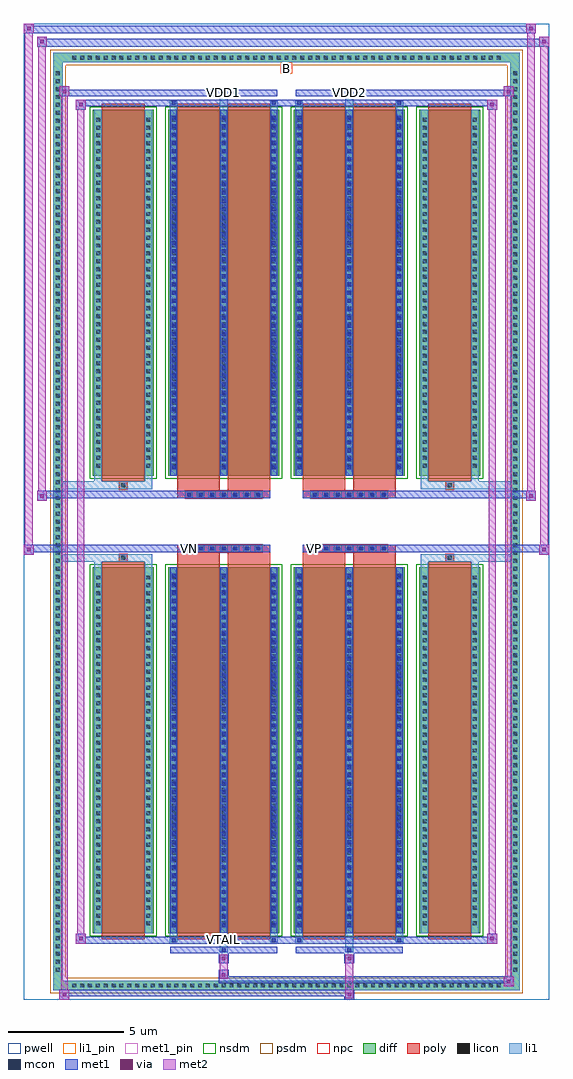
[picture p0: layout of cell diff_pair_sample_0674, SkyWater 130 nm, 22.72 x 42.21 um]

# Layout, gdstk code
import gdstk
lib = gdstk.Library(unit=1e-6, precision=5e-09)
def R(c, l, rs):  # rectangles x0, y0, x1, y1
    for r in rs: c.add(gdstk.rectangle(r[:2], r[2:], *l))
def A(c, l, x, y, w, h, nx, ny, dx, dy):  # array of equal rectangles
    R(c, l, [(x+i*dx, y+j*dy, x+i*dx+w, y+j*dy+h) for i in range(nx) for j in range(ny)])
def P(c, l, *ps):  # polygons
    for p in ps: c.add(gdstk.Polygon(p, *l))
pwell = (64, 44)
diff = (65, 20)
poly = (66, 20)
licon = (66, 44)
li1_pin = (67, 16)
li1 = (67, 20)
mcon = (67, 44)
met1_pin = (68, 16)
met1 = (68, 20)
via = (68, 44)
met2 = (69, 20)
nsdm = (93, 44)
psdm = (94, 20)
npc = (95, 20)

diff_pair_sample_0674 = lib.new_cell('diff_pair_sample_0674')
R(diff_pair_sample_0674, pwell, [(-11.36,-20.67,11.36,21.54), (-8.68,-18.86,-0.01,-0.8), (0.01,-18.86,8.68,-0.8), (-8.68,0.8,-0.01,18.86), (0.01,0.8,8.68,18.86)])
A(diff_pair_sample_0674, diff, -9.385, -20.27, 0.41, 0.41, 55, 2, 0.34, 40.13)
A(diff_pair_sample_0674, diff, -10.09, -19.585, 0.41, 0.41, 1, 115, 0, 0.34)
A(diff_pair_sample_0674, diff, 9.68, -19.585, 0.41, 0.41, 1, 115, 0, 0.34)
R(diff_pair_sample_0674, diff, [(-9.385,-20.27,9.385,-19.86), (-10.09,-19.585,-9.68,19.585), (9.68,-19.585,10.09,19.585), (-8.37,-17.815,-5.75,-1.985), (-5.11,-17.815,-0.32,-1.985), (0.32,-17.815,5.11,-1.985), (5.75,-17.815,8.37,-1.985), (-8.37,1.985,-5.75,17.815), (-5.11,1.985,-0.32,17.815), (0.32,1.985,5.11,17.815), (5.75,1.985,8.37,17.815), (-9.385,19.86,9.385,20.27)])
P(diff_pair_sample_0674, diff, [(10.09,20.27),(-10.09,20.27),(-10.09,-19.86),(-9.68,-19.86),(-9.68,19.86),(9.68,19.86),(9.68,-19.86),(-9.68,-19.86),(-10.09,-19.86),(-10.09,-20.27),(10.09,-20.27)])
A(diff_pair_sample_0674, poly, -4.38, -1.33, 0.33, 0.33, 7, 2, 0.5, 2.33)
A(diff_pair_sample_0674, poly, 1.05, -1.33, 0.33, 0.33, 7, 2, 0.5, 2.33)
R(diff_pair_sample_0674, poly, [(-7.98,-18.065,-6.14,-1.735), (-4.72,-18.065,-2.88,-1.735), (-2.55,-18.065,-0.71,-1.735), (0.71,-18.065,2.55,-1.735), (2.88,-18.065,4.72,-1.735), (6.14,-18.065,7.98,-1.735), (-7.225,-1.735,-6.895,-1.405), (-7.225,-1.735,-6.895,-1.405), (-4.72,-1.735,-2.88,-1.33), (-2.55,-1.735,-0.71,-1.33), (0.71,-1.735,2.55,-1.33), (2.88,-1.735,4.72,-1.33), (6.895,-1.735,7.225,-1.405), (6.895,-1.735,7.225,-1.405), (-4.72,-1.33,-0.71,-1), (0.71,-1.33,4.72,-1), (-4.72,1,-0.71,1.33), (0.71,1,4.72,1.33), (-4.72,1.33,-2.88,1.735), (-2.55,1.33,-0.71,1.735), (0.71,1.33,2.55,1.735), (2.88,1.33,4.72,1.735), (-7.225,1.405,-6.895,1.735), (-7.225,1.405,-6.895,1.735), (6.895,1.405,7.225,1.735), (6.895,1.405,7.225,1.735), (-7.98,1.735,-6.14,18.065), (-4.72,1.735,-2.88,18.065), (-2.55,1.735,-0.71,18.065), (0.71,1.735,2.55,18.065), (2.88,1.735,4.72,18.065), (6.14,1.735,7.98,18.065)])
A(diff_pair_sample_0674, licon, -9.265, -20.15, 0.17, 0.17, 55, 2, 0.34, 40.13)
A(diff_pair_sample_0674, licon, -9.97, -19.465, 0.17, 0.17, 1, 115, 0, 0.34)
A(diff_pair_sample_0674, licon, 9.8, -19.465, 0.17, 0.17, 1, 115, 0, 0.34)
A(diff_pair_sample_0674, licon, -8.23, -17.465, 0.17, 0.17, 1, 45, 0, 0.34)
A(diff_pair_sample_0674, licon, -6.06, -17.465, 0.17, 0.17, 1, 45, 0, 0.34)
A(diff_pair_sample_0674, licon, -4.97, -17.465, 0.17, 0.17, 3, 45, 2.17, 0.34)
A(diff_pair_sample_0674, licon, 0.46, -17.465, 0.17, 0.17, 3, 45, 2.17, 0.34)
A(diff_pair_sample_0674, licon, 5.89, -17.465, 0.17, 0.17, 1, 45, 0, 0.34)
A(diff_pair_sample_0674, licon, 8.06, -17.465, 0.17, 0.17, 1, 45, 0, 0.34)
A(diff_pair_sample_0674, licon, -4.3, -1.25, 0.17, 0.17, 7, 2, 0.5, 2.33)
A(diff_pair_sample_0674, licon, 1.13, -1.25, 0.17, 0.17, 7, 2, 0.5, 2.33)
A(diff_pair_sample_0674, licon, -8.23, 2.335, 0.17, 0.17, 1, 45, 0, 0.34)
A(diff_pair_sample_0674, licon, -6.06, 2.335, 0.17, 0.17, 1, 45, 0, 0.34)
A(diff_pair_sample_0674, licon, -4.97, 2.335, 0.17, 0.17, 3, 45, 2.17, 0.34)
A(diff_pair_sample_0674, licon, 0.46, 2.335, 0.17, 0.17, 3, 45, 2.17, 0.34)
A(diff_pair_sample_0674, licon, 5.89, 2.335, 0.17, 0.17, 1, 45, 0, 0.34)
A(diff_pair_sample_0674, licon, 8.06, 2.335, 0.17, 0.17, 1, 45, 0, 0.34)
R(diff_pair_sample_0674, licon, [(-7.145,-1.655,-6.975,-1.485), (6.975,-1.655,7.145,-1.485), (-7.145,1.485,-6.975,1.655), (6.975,1.485,7.145,1.655)])
R(diff_pair_sample_0674, li1_pin, [(-0.25,19.36,0.25,19.86)])
A(diff_pair_sample_0674, li1, -9.345, -20.23, 0.33, 0.33, 55, 2, 0.34, 40.13)
A(diff_pair_sample_0674, li1, -10.05, -19.545, 0.33, 0.33, 1, 115, 0, 0.34)
A(diff_pair_sample_0674, li1, 9.72, -19.545, 0.33, 0.33, 1, 115, 0, 0.34)
A(diff_pair_sample_0674, li1, -5.05, -17.815, 0.33, 15.83, 3, 2, 2.17, 19.8)
A(diff_pair_sample_0674, li1, 0.38, -17.815, 0.33, 15.83, 3, 2, 2.17, 19.8)
A(diff_pair_sample_0674, li1, -8.31, -17.545, 0.33, 0.33, 1, 45, 0, 0.34)
A(diff_pair_sample_0674, li1, -6.14, -17.545, 0.33, 0.33, 1, 45, 0, 0.34)
A(diff_pair_sample_0674, li1, -5.05, -17.545, 0.33, 0.33, 3, 45, 2.17, 0.34)
A(diff_pair_sample_0674, li1, -4.97, -17.545, 0.17, 0.17, 3, 43, 2.17, 0.36)
A(diff_pair_sample_0674, li1, -4.97, -17.545, 0.17, 15.29, 3, 2, 2.17, 19.8)
A(diff_pair_sample_0674, li1, 0.38, -17.545, 0.33, 0.33, 3, 45, 2.17, 0.34)
A(diff_pair_sample_0674, li1, 0.46, -17.545, 0.17, 0.17, 3, 43, 2.17, 0.36)
A(diff_pair_sample_0674, li1, 0.46, -17.545, 0.17, 15.29, 3, 2, 2.17, 19.8)
A(diff_pair_sample_0674, li1, 5.81, -17.545, 0.33, 0.33, 1, 45, 0, 0.34)
A(diff_pair_sample_0674, li1, 7.98, -17.545, 0.33, 0.33, 1, 45, 0, 0.34)
A(diff_pair_sample_0674, li1, -4.38, -1.33, 0.33, 0.33, 7, 2, 0.5, 2.33)
A(diff_pair_sample_0674, li1, 1.05, -1.33, 0.33, 0.33, 7, 2, 0.5, 2.33)
A(diff_pair_sample_0674, li1, -8.31, 2.255, 0.33, 0.33, 1, 45, 0, 0.34)
A(diff_pair_sample_0674, li1, -6.14, 2.255, 0.33, 0.33, 1, 45, 0, 0.34)
A(diff_pair_sample_0674, li1, -5.05, 2.255, 0.33, 0.33, 3, 45, 2.17, 0.34)
A(diff_pair_sample_0674, li1, -4.97, 2.255, 0.17, 0.17, 3, 43, 2.17, 0.36)
A(diff_pair_sample_0674, li1, 0.38, 2.255, 0.33, 0.33, 3, 45, 2.17, 0.34)
A(diff_pair_sample_0674, li1, 0.46, 2.255, 0.17, 0.17, 3, 43, 2.17, 0.36)
A(diff_pair_sample_0674, li1, 5.81, 2.255, 0.33, 0.33, 1, 45, 0, 0.34)
A(diff_pair_sample_0674, li1, 7.98, 2.255, 0.33, 0.33, 1, 45, 0, 0.34)
R(diff_pair_sample_0674, li1, [(-10.09,-20.27,-9.68,-19.86), (-10.09,-20.27,-9.68,-19.86), (-9.68,-20.27,9.68,-19.86), (9.68,-20.27,10.09,-19.86), (9.68,-20.27,10.09,-19.86), (-10.09,-19.86,-9.68,19.86), (9.68,-19.86,10.09,19.86), (-2.88,-18.62,-2.55,-17.815), (-2.8,-18.62,-2.63,-18.45), (2.55,-18.62,2.88,-17.815), (2.63,-18.62,2.8,-18.45), (-5.05,-18.19,-4.72,-17.815), (-4.97,-18.19,-4.8,-18.02), (-0.71,-18.19,-0.38,-17.815), (-0.63,-18.19,-0.46,-18.02), (0.38,-18.19,0.71,-17.815), (0.46,-18.19,0.63,-18.02), (4.72,-18.19,5.05,-17.815), (4.8,-18.19,4.97,-18.02), (-8.31,-17.815,-7.98,-1.985), (-6.14,-17.815,-5.81,-1.985), (5.81,-17.815,6.14,-1.985), (7.98,-17.815,8.31,-1.985), (-8.31,-1.985,-7.98,-1.405), (-6.14,-1.985,-5.81,-1.405), (5.81,-1.985,6.14,-1.405), (7.98,-1.985,8.31,-1.405), (-10.09,-1.735,-7.225,-1.405), (-8.31,-1.735,-7.225,-1.405), (-7.225,-1.735,-6.895,-1.405), (-6.895,-1.735,-5.81,-1.405), (5.81,-1.735,6.895,-1.405), (6.895,-1.735,7.225,-1.405), (6.895,-1.735,10.09,-1.405), (7.225,-1.735,8.31,-1.405), (-10.09,1.405,-7.225,1.735), (-8.31,1.405,-7.225,1.735), (-8.31,1.405,-7.98,1.985), (-7.225,1.405,-6.895,1.735), (-6.895,1.405,-5.81,1.735), (-6.14,1.405,-5.81,1.985), (5.81,1.405,6.895,1.735), (5.81,1.405,6.14,1.985), (6.895,1.405,7.225,1.735), (6.895,1.405,10.09,1.735), (7.225,1.405,8.31,1.735), (7.98,1.405,8.31,1.985), (-8.31,1.985,-7.98,17.815), (-6.14,1.985,-5.81,17.815), (5.81,1.985,6.14,17.815), (7.98,1.985,8.31,17.815), (-5.05,17.815,-4.72,18.19), (-2.88,17.815,-2.55,18.62), (-0.71,17.815,-0.38,18.19), (0.38,17.815,0.71,18.19), (2.55,17.815,2.88,18.62), (4.72,17.815,5.05,18.19), (-4.97,18.02,-4.8,18.19), (-0.63,18.02,-0.46,18.19), (0.46,18.02,0.63,18.19), (4.8,18.02,4.97,18.19), (-2.8,18.45,-2.63,18.62), (2.63,18.45,2.8,18.62), (-10.09,19.86,-9.68,20.27), (-10.09,19.86,-9.68,20.27), (-9.68,19.86,9.68,20.27), (9.68,19.86,10.09,20.27), (9.68,19.86,10.09,20.27)])
A(diff_pair_sample_0674, mcon, -4.97, -17.545, 0.17, 0.17, 3, 43, 2.17, 0.36)
A(diff_pair_sample_0674, mcon, 0.46, -17.545, 0.17, 0.17, 3, 43, 2.17, 0.36)
A(diff_pair_sample_0674, mcon, -4.3, -1.25, 0.17, 0.17, 7, 2, 0.5, 2.33)
A(diff_pair_sample_0674, mcon, 1.13, -1.25, 0.17, 0.17, 7, 2, 0.5, 2.33)
A(diff_pair_sample_0674, mcon, -4.97, 2.255, 0.17, 0.17, 3, 43, 2.17, 0.36)
A(diff_pair_sample_0674, mcon, 0.46, 2.255, 0.17, 0.17, 3, 43, 2.17, 0.36)
R(diff_pair_sample_0674, mcon, [(-2.8,-18.62,-2.63,-18.45), (2.63,-18.62,2.8,-18.45), (-4.97,-18.19,-4.8,-18.02), (-0.63,-18.19,-0.46,-18.02), (0.46,-18.19,0.63,-18.02), (4.8,-18.19,4.97,-18.02), (-4.97,18.02,-4.8,18.19), (-0.63,18.02,-0.46,18.19), (0.46,18.02,0.63,18.19), (4.8,18.02,4.97,18.19), (-2.8,18.45,-2.63,18.62), (2.63,18.45,2.8,18.62)])
R(diff_pair_sample_0674, met1_pin, [(-2.85,-18.23,-2.58,-17.96), (-4.35,-1.29,-4.08,-1.02), (1.08,-1.29,1.35,-1.02), (-2.85,18.41,-2.58,18.68), (2.58,18.41,2.85,18.68)])
A(diff_pair_sample_0674, met1, -5.03, -17.815, 0.29, 15.83, 3, 2, 2.17, 19.8)
A(diff_pair_sample_0674, met1, 0.4, -17.815, 0.29, 15.83, 3, 2, 2.17, 19.8)
A(diff_pair_sample_0674, met1, -5.03, -17.605, 0.29, 0.29, 3, 43, 2.17, 0.36)
A(diff_pair_sample_0674, met1, 0.4, -17.605, 0.29, 0.29, 3, 43, 2.17, 0.36)
A(diff_pair_sample_0674, met1, -4.36, -1.31, 0.29, 0.29, 7, 2, 0.5, 2.33)
A(diff_pair_sample_0674, met1, 1.07, -1.31, 0.29, 0.29, 7, 2, 0.5, 2.33)
A(diff_pair_sample_0674, met1, -5.03, 2.195, 0.29, 0.29, 3, 43, 2.17, 0.36)
A(diff_pair_sample_0674, met1, 0.4, 2.195, 0.29, 0.29, 3, 43, 2.17, 0.36)
R(diff_pair_sample_0674, met1, [(-9.82,-20.67,-9.39,-20.24), (2.5,-20.67,2.93,-20.24), (-9.82,-20.53,2.93,-20.24), (9.39,-20.1,9.82,-19.67), (-2.93,-19.96,9.82,-19.67), (-2.93,-19.82,-2.5,-19.39), (-2.93,-19.11,-2.5,-18.68), (2.5,-19.11,2.93,-18.68), (-5.03,-18.68,-0.4,-18.39), (-2.86,-18.68,-2.57,-18.39), (0.4,-18.68,5.03,-18.39), (2.57,-18.68,2.86,-18.39), (-9.11,-18.25,-8.68,-17.82), (-9.11,-18.25,-5.03,-17.96), (-5.03,-18.25,-4.74,-17.96), (-5.03,-18.25,-0.4,-17.96), (-0.69,-18.25,-0.4,-17.96), (-0.4,-18.25,0.4,-17.96), (0.4,-18.25,0.69,-17.96), (0.4,-18.25,5.03,-17.96), (4.74,-18.25,5.03,-17.96), (5.03,-18.25,9.11,-17.96), (8.68,-18.25,9.11,-17.82), (-11.36,-1.43,-10.93,-1), (10.93,-1.43,11.36,-1), (-11.36,-1.33,-0.71,-1), (-4.72,-1.33,-0.71,-1), (0.71,-1.33,4.72,-1), (0.71,-1.33,11.36,-1), (-10.79,0.9,-10.36,1.33), (10.36,0.9,10.79,1.33), (-10.79,1,-4.72,1.33), (-4.72,1,-0.71,1.33), (0.71,1,4.72,1.33), (4.72,1,10.79,1.33), (-9.11,17.82,-8.68,18.25), (8.68,17.82,9.11,18.25), (-9.11,17.96,-5.03,18.25), (-5.03,17.96,-4.74,18.25), (-5.03,17.96,-0.4,18.25), (-0.69,17.96,-0.4,18.25), (-0.4,17.96,0.4,18.25), (0.4,17.96,0.69,18.25), (0.4,17.96,5.03,18.25), (4.74,17.96,5.03,18.25), (5.03,17.96,9.11,18.25), (-9.82,18.39,-9.39,18.82), (-9.82,18.39,-5.03,18.68), (-5.03,18.39,-0.4,18.68), (-2.86,18.39,-2.57,18.68), (0.4,18.39,5.03,18.68), (2.57,18.39,2.86,18.68), (5.03,18.39,9.82,18.68), (9.39,18.39,9.82,18.82), (-10.79,20.54,-10.36,20.97), (-10.79,20.54,-8.68,20.87), (-8.68,20.54,8.68,20.87), (8.68,20.54,11.36,20.87), (10.93,20.54,11.36,20.97), (-11.36,21.11,-10.93,21.54), (-11.36,21.11,-8.68,21.44), (-8.68,21.11,8.68,21.44), (8.68,21.11,10.79,21.44), (10.36,21.11,10.79,21.54)])
R(diff_pair_sample_0674, via, [(-9.68,-20.53,-9.53,-20.38), (2.64,-20.53,2.79,-20.38), (9.53,-19.96,9.68,-19.81), (-2.79,-19.68,-2.64,-19.53), (-2.79,-18.97,-2.64,-18.82), (2.64,-18.97,2.79,-18.82), (-8.97,-18.11,-8.82,-17.96), (8.82,-18.11,8.97,-17.96), (-11.22,-1.29,-11.07,-1.14), (11.07,-1.29,11.22,-1.14), (-10.65,1.04,-10.5,1.19), (10.5,1.04,10.65,1.19), (-8.97,17.96,-8.82,18.11), (8.82,17.96,8.97,18.11), (-9.68,18.53,-9.53,18.68), (9.53,18.53,9.68,18.68), (-10.65,20.68,-10.5,20.83), (11.07,20.68,11.22,20.83), (-11.22,21.25,-11.07,21.4), (10.5,21.25,10.65,21.4)])
R(diff_pair_sample_0674, met2, [(-9.82,-20.67,-9.39,-20.24), (-9.75,-20.67,-9.46,18.82), (-9.46,-20.67,-9.39,-20.24), (-9.77,-20.62,-9.44,-20.29), (2.55,-20.62,2.88,-20.29), (2.55,-20.29,2.88,-19.06), (9.39,-20.1,9.82,-19.67), (9.46,-20.1,9.75,18.82), (9.75,-20.1,9.82,-19.67), (9.44,-20.05,9.77,-19.72), (-2.88,-19.77,-2.55,-19.44), (-2.88,-19.44,-2.55,-19.06), (-2.88,-19.06,-2.55,-18.73), (2.55,-19.06,2.88,-18.73), (-9.11,-18.25,-8.68,-17.82), (-9.04,-18.25,-8.75,18.25), (-8.75,-18.25,-8.68,-17.82), (8.68,-18.25,9.11,-17.82), (8.75,-18.25,9.04,18.25), (9.04,-18.25,9.11,-17.82), (-9.06,-18.2,-8.73,-17.87), (8.73,-18.2,9.06,-17.87), (-11.36,-1.43,-10.93,-1), (-11.31,-1.43,-10.98,21.54), (-10.98,-1.43,-10.93,-1), (10.93,-1.43,11.36,-1), (10.98,-1.43,11.31,20.97), (11.31,-1.43,11.36,-1), (-11.31,-1.38,-10.98,-1.05), (10.98,-1.38,11.31,-1.05), (-10.79,0.9,-10.36,1.33), (-10.74,0.9,-10.41,20.97), (-10.41,0.9,-10.36,1.33), (10.36,0.9,10.79,1.33), (10.41,0.9,10.74,21.54), (10.74,0.9,10.79,1.33), (-10.74,0.95,-10.41,1.28), (10.41,0.95,10.74,1.28), (-9.11,17.82,-8.68,18.25), (-8.75,17.82,-8.68,18.25), (8.68,17.82,9.11,18.25), (9.04,17.82,9.11,18.25), (-9.06,17.87,-8.73,18.2), (8.73,17.87,9.06,18.2), (-9.82,18.39,-9.39,18.82), (-9.46,18.39,-9.39,18.82), (9.39,18.39,9.82,18.82), (9.75,18.39,9.82,18.82), (-9.77,18.44,-9.44,18.77), (9.44,18.44,9.77,18.77), (-10.79,20.54,-10.36,20.97), (-10.41,20.54,-10.36,20.97), (10.93,20.54,11.36,20.97), (11.31,20.54,11.36,20.97), (-10.74,20.59,-10.41,20.92), (10.98,20.59,11.31,20.92), (-11.36,21.11,-10.93,21.54), (-10.98,21.11,-10.93,21.54), (10.36,21.11,10.79,21.54), (10.74,21.11,10.79,21.54), (-11.31,21.16,-10.98,21.49), (10.41,21.16,10.74,21.49)])
R(diff_pair_sample_0674, nsdm, [(-8.5,-17.945,-5.62,-1.855), (-5.24,-17.945,-0.19,-1.855), (0.19,-17.945,5.24,-1.855), (5.62,-17.945,8.5,-1.855), (-8.5,1.855,-5.62,17.945), (-5.24,1.855,-0.19,17.945), (0.19,1.855,5.24,17.945), (5.62,1.855,8.5,17.945)])
P(diff_pair_sample_0674, psdm, [(10.22,20.4),(-10.22,20.4),(-10.22,-19.73),(-9.55,-19.73),(-9.55,19.73),(9.55,19.73),(9.55,-19.73),(-9.55,-19.73),(-10.22,-19.73),(-10.22,-20.4),(10.22,-20.4)])
A(diff_pair_sample_0674, npc, -4.4, -1.35, 0.37, 0.37, 7, 2, 0.5, 2.33)
A(diff_pair_sample_0674, npc, 1.03, -1.35, 0.37, 0.37, 7, 2, 0.5, 2.33)
R(diff_pair_sample_0674, npc, [(-7.245,-1.755,-6.875,-1.385), (6.875,-1.755,7.245,-1.385), (-4.4,-1.35,-3.53,-0.98), (-4.4,-1.35,-3.53,-0.98), (-3.9,-1.35,-3.03,-0.98), (-3.9,-1.35,-3.03,-0.98), (-3.4,-1.35,-2.53,-0.98), (-3.4,-1.35,-2.53,-0.98), (-2.9,-1.35,-2.03,-0.98), (-2.9,-1.35,-2.03,-0.98), (-2.4,-1.35,-1.53,-0.98), (-2.4,-1.35,-1.53,-0.98), (-1.9,-1.35,-1.03,-0.98), (-1.9,-1.35,-1.03,-0.98), (1.03,-1.35,1.9,-0.98), (1.03,-1.35,1.9,-0.98), (1.53,-1.35,2.4,-0.98), (1.53,-1.35,2.4,-0.98), (2.03,-1.35,2.9,-0.98), (2.03,-1.35,2.9,-0.98), (2.53,-1.35,3.4,-0.98), (2.53,-1.35,3.4,-0.98), (3.03,-1.35,3.9,-0.98), (3.03,-1.35,3.9,-0.98), (3.53,-1.35,4.4,-0.98), (3.53,-1.35,4.4,-0.98), (-4.4,0.98,-3.53,1.35), (-4.4,0.98,-3.53,1.35), (-3.9,0.98,-3.03,1.35), (-3.9,0.98,-3.03,1.35), (-3.4,0.98,-2.53,1.35), (-3.4,0.98,-2.53,1.35), (-2.9,0.98,-2.03,1.35), (-2.9,0.98,-2.03,1.35), (-2.4,0.98,-1.53,1.35), (-2.4,0.98,-1.53,1.35), (-1.9,0.98,-1.03,1.35), (-1.9,0.98,-1.03,1.35), (1.03,0.98,1.9,1.35), (1.03,0.98,1.9,1.35), (1.53,0.98,2.4,1.35), (1.53,0.98,2.4,1.35), (2.03,0.98,2.9,1.35), (2.03,0.98,2.9,1.35), (2.53,0.98,3.4,1.35), (2.53,0.98,3.4,1.35), (3.03,0.98,3.9,1.35), (3.03,0.98,3.9,1.35), (3.53,0.98,4.4,1.35), (3.53,0.98,4.4,1.35), (-7.245,1.385,-6.875,1.755), (6.875,1.385,7.245,1.755)])
diff_pair_sample_0674.add(gdstk.Label('VTAIL', (-2.715,-18.095), layer=68, texttype=5))
diff_pair_sample_0674.add(gdstk.Label('VN', (-4.215,-1.155), layer=68, texttype=5))
diff_pair_sample_0674.add(gdstk.Label('VP', (1.215,-1.155), layer=68, texttype=5))
diff_pair_sample_0674.add(gdstk.Label('B', (0,19.61), layer=67, texttype=5))
diff_pair_sample_0674.add(gdstk.Label('VDD2', (2.715,18.545), layer=68, texttype=5))
diff_pair_sample_0674.add(gdstk.Label('VDD1', (-2.715,18.545), layer=68, texttype=5))

lib.write_gds('diff_pair_sample_0674.gds')
